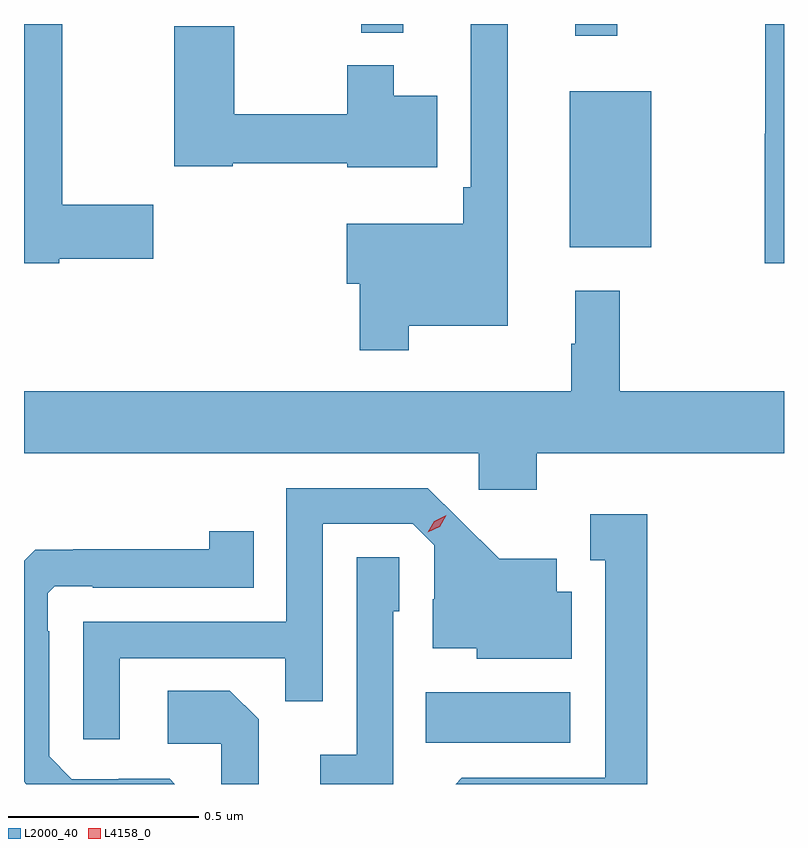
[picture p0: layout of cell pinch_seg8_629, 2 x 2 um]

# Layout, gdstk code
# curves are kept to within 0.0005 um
import gdstk
lib = gdstk.Library(unit=1e-6, precision=1e-09)
def R(c, l, rs):  # rectangles x0, y0, x1, y1
    for r in rs: c.add(gdstk.rectangle(r[:2], r[2:], *l))
def P(c, l, *ps):  # polygons
    for p in ps: c.add(gdstk.Polygon(p, *l))
L2000_40 = (2000, 40)
L4158_0 = (4158, 0)

pinch_seg8_629 = lib.new_cell('pinch_seg8_629')
R(pinch_seg8_629, L2000_40, [(158.236,1099.754,158.617,1099.888), (158.615,1101.059,158.83,1101.469), (158.63,1101.615,158.74,1101.646), (158.067,1101.623,158.177,1101.646)])
P(pinch_seg8_629, L2000_40, [(158.191,1100.852),(158.452,1100.852),(158.452,1101.646),(158.355,1101.646),(158.355,1101.217),(158.335,1101.217),(158.335,1101.121),(158.028,1101.121),(158.028,1100.963),(158.062,1100.963),(158.062,1100.787),(158.191,1100.787)],
  [(157.272,1101.028),(157.519,1101.028),(157.519,1101.17),(157.28,1101.17),(157.28,1101.646),(157.179,1101.646),(157.179,1101.017),(157.272,1101.017)],
  [(159.179,1101.646),(159.129,1101.646),(159.129,1101.357),(159.128,1101.357),(159.128,1101.017),(159.179,1101.017)],
  [(158.266,1101.457),(158.152,1101.457),(158.152,1101.538),(158.03,1101.538),(158.03,1101.409),(157.732,1101.409),(157.732,1101.64),(157.574,1101.64),(157.574,1101.272),(157.728,1101.272),(157.728,1101.28),(158.03,1101.28),(158.03,1101.269),(158.266,1101.269)],
  [(158.528,1100.516),(159.179,1100.516),(159.179,1100.68),(158.747,1100.68),(158.747,1100.944),(158.63,1100.944),(158.63,1100.804),(158.619,1100.804),(158.619,1100.68),(157.179,1100.68),(157.179,1100.516),(158.376,1100.516),(158.376,1100.421),(158.528,1100.421)],
  [(157.431,1099.977),(157.867,1099.977),(157.867,1099.864),(157.965,1099.864),(157.965,1100.331),(158.202,1100.331),(158.259,1100.274),(158.259,1100.132),(158.255,1100.132),(158.255,1100.003),(158.37,1100.003),(158.37,1099.976),(158.62,1099.976),(158.62,1100.152),(158.581,1100.152),(158.581,1100.239),(158.429,1100.239),(158.242,1100.424),(157.869,1100.424),(157.869,1100.073),(157.335,1100.073),(157.335,1099.764),(157.431,1099.764)],
  [(158.819,1100.356),(158.669,1100.356),(158.669,1100.235),(158.708,1100.235),(158.708,1099.662),(158.331,1099.662),(158.315,1099.646),(158.819,1099.646)],
  [(157.562,1099.66),(157.428,1099.66),(157.428,1099.659),(157.305,1099.659),(157.245,1099.719),(157.245,1100.048),(157.242,1100.048),(157.242,1100.148),(157.26,1100.166),(157.36,1100.166),(157.36,1100.163),(157.784,1100.163),(157.784,1100.311),(157.666,1100.311),(157.666,1100.264),(157.309,1100.264),(157.309,1100.263),(157.208,1100.263),(157.179,1100.234),(157.179,1099.652),(157.185,1099.646),(157.576,1099.646)],
  [(158.151,1100.1),(158.166,1100.1),(158.166,1100.243),(158.055,1100.243),(158.055,1099.723),(157.959,1099.723),(157.959,1099.646),(158.151,1099.646)],
  [(157.797,1099.816),(157.721,1099.892),(157.557,1099.892),(157.557,1099.752),(157.698,1099.752),(157.698,1099.646),(157.797,1099.646)])
P(pinch_seg8_629, L4158_0, [(158.242,1100.308),(158.242,1100.308),(158.259,1100.338),(158.29,1100.353),(158.29,1100.353),(158.29,1100.353),(158.273,1100.323),(158.242,1100.308)])

lib.write_gds('pinch_seg8_629.gds')
